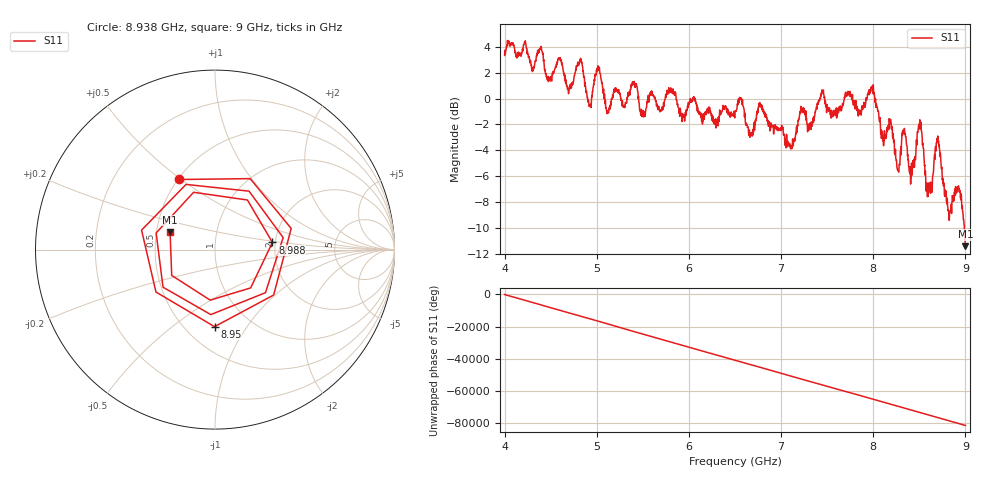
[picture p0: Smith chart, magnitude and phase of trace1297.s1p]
! Created with skrf 1.8.0 (http://scikit-rf.org).
# Hz S RI R 50.0
!freq ReS11 ImS11
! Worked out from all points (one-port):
!   1601 points, 4 GHz to 9 GHz, reference 50 ohm
!   lowest |S11| = -11.4 dB at 9 GHz (marker M1), VSWR 1.73, Z = 29.5 + j6.21 ohm
!   |S11| at or under -10 dB: 8.988583 GHz to end of sweep
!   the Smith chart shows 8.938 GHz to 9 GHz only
!   S11 on the Smith chart (normalised r, x): 8.938 GHz: 0.51, +0.49; 8.95 GHz: 0.69, -0.72; 8.988 GHz: 1.93, +0.17; 9 GHz: 0.59, +0.12
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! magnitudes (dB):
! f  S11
! 4 GHz  3.3
! 4.625 GHz  2.7
! 4.7 GHz  0.7
! 4.822 GHz  3.0
! 4.919 GHz  -0.6
! 5.012 GHz  2.5
! 5.116 GHz  -1.2
! 5.25 GHz  0.4
! 5.875 GHz  -0.5
! 6.5 GHz  -1.1
! 6.675 GHz  -2.8
! 6.778 GHz  -0.6
! 7.125 GHz  -3.1
! 7.225 GHz  -1.0
! 7.75 GHz  0.5
! 7.991 GHz  1.0
! 8.262 GHz  -5.5
! 8.331 GHz  -2.5
! 8.375 GHz  -4.3
! 8.422 GHz  -5.9
! 8.503 GHz  -2.0
! 8.597 GHz  -7.3
! 8.697 GHz  -3.2
! 8.819 GHz  -8.8
! 8.938 GHz  -7.2
! 8.95 GHz  -7.3
! 8.988 GHz  -9.8
! 9 GHz  -11.4
